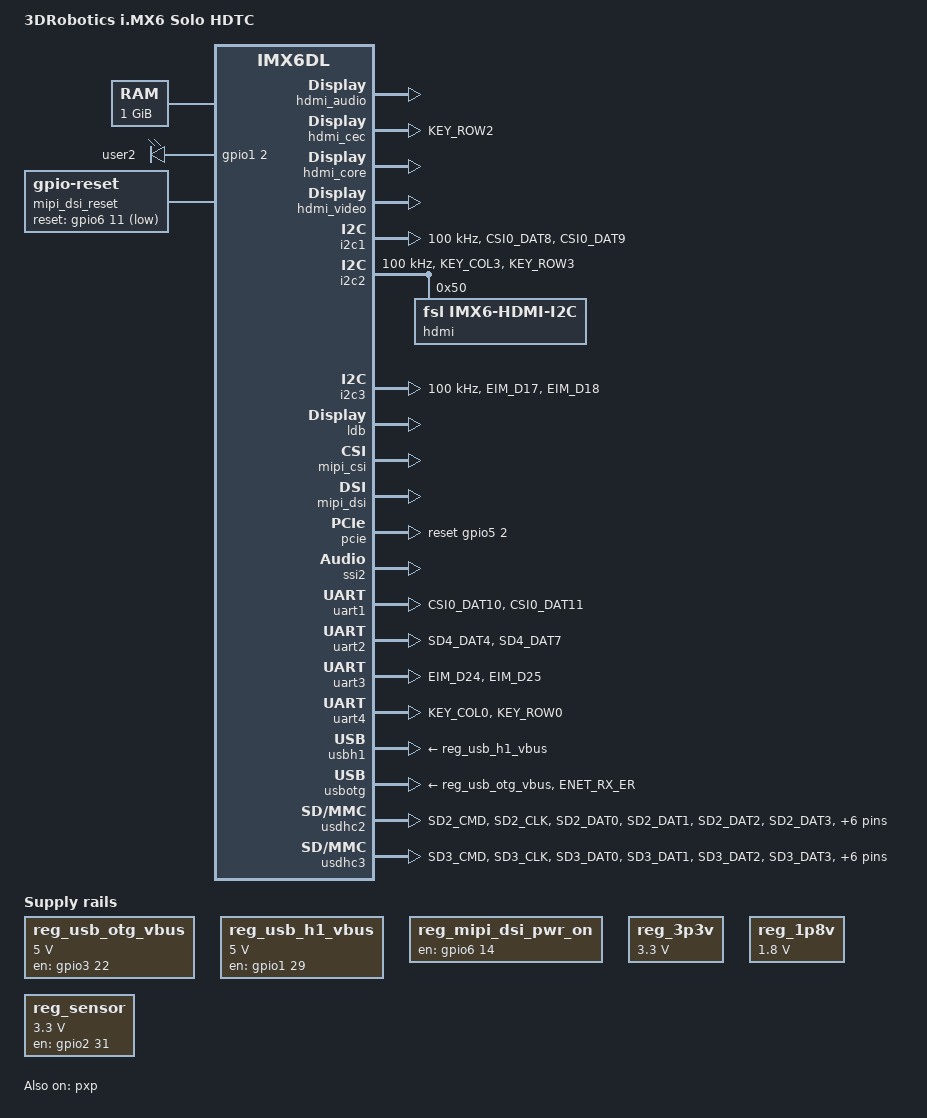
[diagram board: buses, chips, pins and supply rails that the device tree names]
/*
 * Copyright (C) 2013 Freescale Semiconductor, Inc.
 *
 * This program is free software; you can redistribute it and/or modify
 * it under the terms of the GNU General Public License version 2 as
 * published by the Free Software Foundation.
 */

/dts-v1/;

#include "imx6dl.dtsi"

/ {
	model = "3DRobotics i.MX6 Solo HDTC";
	compatible = "fsl,imx6dl-sabresd", "fsl,imx6dl";
};

&iomuxc {
	pinctrl-names = "default";
	pinctrl-0 = <&pinctrl_hog_1>;

  imx6solo-3dr-artoo {
    pinctrl_hog_1: hoggrp-1 {
      fsl,pins = <
        MX6QDL_PAD_GPIO_4__GPIO1_IO04   0x80000000
        MX6QDL_PAD_GPIO_5__GPIO1_IO05   0x80000000
        MX6QDL_PAD_EIM_D26__GPIO3_IO26 0x80000000
        MX6QDL_PAD_EIM_CS1__GPIO2_IO24 0x80000000
        MX6QDL_PAD_EIM_A25__GPIO5_IO02 0x80000000
        MX6QDL_PAD_EIM_D23__GPIO3_IO23 0x80000000
        MX6QDL_PAD_EIM_D22__GPIO3_IO22  0x80000000
        MX6QDL_PAD_EIM_D16__GPIO3_IO16 0x80000000
        MX6QDL_PAD_EIM_DA9__GPIO3_IO09 0x80000000
        MX6QDL_PAD_GPIO_4__GPIO1_IO04 0x80000000
        MX6QDL_PAD_GPIO_5__GPIO1_IO05 0x80000000
        MX6QDL_PAD_EIM_D29__GPIO3_IO29 0x80000000
        MX6QDL_PAD_SD3_RST__GPIO7_IO08 0x80000000
        MX6QDL_PAD_GPIO_9__GPIO1_IO09 0x80000000
        MX6QDL_PAD_GPIO_1__WDOG2_B 0x80000000
        MX6QDL_PAD_GPIO_2__GPIO1_IO02 0x80000000
        MX6QDL_PAD_NANDF_CS3__GPIO6_IO16 0x80000000
        MX6QDL_PAD_NANDF_WP_B__GPIO6_IO09 0x80000000	
        MX6QDL_PAD_SD1_DAT3__GPIO1_IO21 0x80000000	
        MX6QDL_PAD_SD1_DAT2__GPIO1_IO19 0x80000000	
        MX6QDL_PAD_SD4_DAT5__GPIO2_IO13 0x80000000
        MX6QDL_PAD_SD4_DAT6__GPIO2_IO14 0x80000000
      >;
    };

    pinctrl_hdmi_cec_2: hdmicecgrp-2 {
      fsl,pins = <
        MX6QDL_PAD_KEY_ROW2__HDMI_TX_CEC_LINE 0x1f8b0
      >;
    };

    pinctrl_uart1_1: uart1grp-1 {
      fsl,pins = <
        MX6QDL_PAD_CSI0_DAT10__UART1_TX_DATA 0x1b0b1
        MX6QDL_PAD_CSI0_DAT11__UART1_RX_DATA 0x1b0b1
      >;
    };

    pinctrl_usbotg_2: usbotggrp-2 {
      fsl,pins = <
        MX6QDL_PAD_ENET_RX_ER__USB_OTG_ID 0x17059
      >;
    };

    pinctrl_usdhc2_1: usdhc2grp-1 {
      fsl,pins = <
        MX6QDL_PAD_SD2_CMD__SD2_CMD    0x17059
        MX6QDL_PAD_SD2_CLK__SD2_CLK    0x10059
        MX6QDL_PAD_SD2_DAT0__SD2_DATA0 0x17059
        MX6QDL_PAD_SD2_DAT1__SD2_DATA1 0x17059
        MX6QDL_PAD_SD2_DAT2__SD2_DATA2 0x17059
        MX6QDL_PAD_SD2_DAT3__SD2_DATA3 0x17059
        MX6QDL_PAD_NANDF_D4__SD2_DATA4 0x17059
        MX6QDL_PAD_NANDF_D5__SD2_DATA5 0x17059
        MX6QDL_PAD_NANDF_D6__SD2_DATA6 0x17059
        MX6QDL_PAD_NANDF_D7__SD2_DATA7 0x17059
      >;
    };

   pinctrl_usdhc3_1: usdhc3grp-1 {
      fsl,pins = <
        MX6QDL_PAD_SD3_CMD__SD3_CMD    0x17059
        MX6QDL_PAD_SD3_CLK__SD3_CLK    0x10059
        MX6QDL_PAD_SD3_DAT0__SD3_DATA0 0x17059
        MX6QDL_PAD_SD3_DAT1__SD3_DATA1 0x17059
        MX6QDL_PAD_SD3_DAT2__SD3_DATA2 0x17059
        MX6QDL_PAD_SD3_DAT3__SD3_DATA3 0x17059
        MX6QDL_PAD_SD3_DAT4__SD3_DATA4 0x17059
        MX6QDL_PAD_SD3_DAT5__SD3_DATA5 0x17059
        MX6QDL_PAD_SD3_DAT6__SD3_DATA6 0x17059
        MX6QDL_PAD_SD3_DAT7__SD3_DATA7 0x17059
      >;
    };

    pinctrl_i2c1_2: i2c1grp-2 {
      fsl,pins = <
        MX6QDL_PAD_CSI0_DAT8__I2C1_SDA 0x4001b8b1
        MX6QDL_PAD_CSI0_DAT9__I2C1_SCL 0x4001b8b1
      >;
    };

    pinctrl_i2c2_2: i2c2grp-2 {
      fsl,pins = <
        MX6QDL_PAD_KEY_COL3__I2C2_SCL 0x4001b8b1
        MX6QDL_PAD_KEY_ROW3__I2C2_SDA 0x4001b8b1
      >;
    };

    pinctrl_i2c3_1: i2c3grp-1 {
      fsl,pins = <
        MX6QDL_PAD_EIM_D17__I2C3_SCL 0x4001b8b1
        MX6QDL_PAD_EIM_D18__I2C3_SDA 0x4001b8b1
      >;
    };

    pinctrl_uart2_4: uart2grp-4 { /* DTE mode */
      fsl,pins = <
        MX6QDL_PAD_SD4_DAT4__UART2_RX_DATA   0x1b0b1
        MX6QDL_PAD_SD4_DAT7__UART2_TX_DATA   0x1b0b1
      >;
    };

    pinctrl_uart3_2: uart3grp-2 {
      fsl,pins = <
        MX6QDL_PAD_EIM_D24__UART3_TX_DATA 0x1b0b1
        MX6QDL_PAD_EIM_D25__UART3_RX_DATA 0x1b0b1
      >;
    };

    pinctrl_uart4_1: uart4grp-1 {
      fsl,pins = <
        MX6QDL_PAD_KEY_COL0__UART4_TX_DATA 0x1b0b1
        MX6QDL_PAD_KEY_ROW0__UART4_RX_DATA 0x1b0b1
      >;
    };

    pinctrl_ipu1_1: ipu1grp-1 {
      fsl,pins = <
        MX6QDL_PAD_DI0_DISP_CLK__IPU1_DI0_DISP_CLK 0x10
        MX6QDL_PAD_DI0_PIN15__IPU1_DI0_PIN15       0x10
        MX6QDL_PAD_DI0_PIN2__IPU1_DI0_PIN02        0x10
        MX6QDL_PAD_DI0_PIN3__IPU1_DI0_PIN03        0x10
        MX6QDL_PAD_DI0_PIN4__IPU1_DI0_PIN04        0x80000000
        MX6QDL_PAD_DISP0_DAT0__IPU1_DISP0_DATA00   0x10
        MX6QDL_PAD_DISP0_DAT1__IPU1_DISP0_DATA01   0x10
        MX6QDL_PAD_DISP0_DAT2__IPU1_DISP0_DATA02   0x10
        MX6QDL_PAD_DISP0_DAT3__IPU1_DISP0_DATA03   0x10
        MX6QDL_PAD_DISP0_DAT4__IPU1_DISP0_DATA04   0x10
        MX6QDL_PAD_DISP0_DAT5__IPU1_DISP0_DATA05   0x10
        MX6QDL_PAD_DISP0_DAT6__IPU1_DISP0_DATA06   0x10
        MX6QDL_PAD_DISP0_DAT7__IPU1_DISP0_DATA07   0x10
        MX6QDL_PAD_DISP0_DAT8__IPU1_DISP0_DATA08   0x10
        MX6QDL_PAD_DISP0_DAT9__IPU1_DISP0_DATA09   0x10
        MX6QDL_PAD_DISP0_DAT10__IPU1_DISP0_DATA10  0x10
        MX6QDL_PAD_DISP0_DAT11__IPU1_DISP0_DATA11  0x10
        MX6QDL_PAD_DISP0_DAT12__IPU1_DISP0_DATA12  0x10
        MX6QDL_PAD_DISP0_DAT13__IPU1_DISP0_DATA13  0x10
        MX6QDL_PAD_DISP0_DAT14__IPU1_DISP0_DATA14  0x10
        MX6QDL_PAD_DISP0_DAT15__IPU1_DISP0_DATA15  0x10
        MX6QDL_PAD_DISP0_DAT16__IPU1_DISP0_DATA16  0x10
        MX6QDL_PAD_DISP0_DAT17__IPU1_DISP0_DATA17  0x10
        MX6QDL_PAD_DISP0_DAT18__IPU1_DISP0_DATA18  0x10
        MX6QDL_PAD_DISP0_DAT19__IPU1_DISP0_DATA19  0x10
        MX6QDL_PAD_DISP0_DAT20__IPU1_DISP0_DATA20  0x10
        MX6QDL_PAD_DISP0_DAT21__IPU1_DISP0_DATA21  0x10
        MX6QDL_PAD_DISP0_DAT22__IPU1_DISP0_DATA22  0x10
        MX6QDL_PAD_DISP0_DAT23__IPU1_DISP0_DATA23  0x10
      >;
    };
  };
};

/ {
	aliases {
		mxcfb0 = &mxcfb1;
		mxcfb1 = &mxcfb2;
		mxcfb2 = &mxcfb3;
		mxcfb3 = &mxcfb4;
	};

	memory {
		reg = <0x10000000 0x40000000>;
	};

	leds {
		compatible = "gpio-leds";
		
		led1: user2 {
			label = "user2";
			gpios = <&gpio1 2 GPIO_ACTIVE_HIGH>;
			default-state = "off";
			linux,default-trigger = "phy0assoc";
		};
	};

	regulators {
		compatible = "simple-bus";

		reg_usb_otg_vbus: usb_otg_vbus {
			compatible = "regulator-fixed";
			regulator-name = "usb_otg_vbus";
			regulator-min-microvolt = <5000000>;
			regulator-max-microvolt = <5000000>;
			gpio = <&gpio3 22 0>;
			enable-active-high;
		};

		reg_usb_h1_vbus: usb_h1_vbus {
			compatible = "regulator-fixed";
			regulator-name = "usb_h1_vbus";
			regulator-min-microvolt = <5000000>;
			regulator-max-microvolt = <5000000>;
			gpio = <&gpio1 29 0>;
			enable-active-high;
		};

		reg_mipi_dsi_pwr_on: mipi_dsi_pwr_on {
			compatible = "regulator-fixed";
			regulator-name = "mipi_dsi_pwr_on";
			gpio = <&gpio6 14 0>;
			enable-active-high;
		};

		reg_3p3v: 3p3v {
			compatible = "regulator-fixed";
			regulator-name = "3P3V";
			regulator-min-microvolt = <3300000>;
			regulator-max-microvolt = <3300000>;
			regulator-always-on;
		};

		reg_1p8v: 1p8v {
			compatible = "regulator-fixed";
			regulator-name = "1P8V";
			regulator-min-microvolt = <1800000>;
			regulator-max-microvolt = <1800000>;
			regulator-always-on;
		};

		reg_sensor: sensor_supply {
			compatible = "regulator-fixed";
			regulator-name = "sensor-supply";
			regulator-min-microvolt = <3300000>;
			regulator-max-microvolt = <3300000>;
			gpio = <&gpio2 31 0>;
			startup-delay-us = <500>;
			enable-active-high;
		};
	};

	sound-hdmi {
		compatible = "fsl,imx6q-audio-hdmi",
			     "fsl,imx-audio-hdmi";
		model = "imx-audio-hdmi";
		hdmi-controller = <&hdmi_audio>;
	};

	mxcfb1: fb@0 {
		compatible = "fsl,mxc_sdc_fb";
		disp_dev = "ldb";
		interface_pix_fmt = "RGB666";
		mode_str ="LDB-XGA";
		default_bpp = <16>;
		int_clk = <0>;
		late_init = <0>;
		status = "disabled";
	};

	mxcfb2: fb@1 {
		compatible = "fsl,mxc_sdc_fb";
		disp_dev = "hdmi";
		interface_pix_fmt = "RGB24";
		mode_str ="1920x1080M@60";
		default_bpp = <24>;
		int_clk = <0>;
		late_init = <0>;
		status = "disabled";
	};

	mxcfb3: fb@2 {
		compatible = "fsl,mxc_sdc_fb";
		disp_dev = "lcd";
		interface_pix_fmt = "RGB565";
		mode_str ="CLAA-WVGA";
		default_bpp = <16>;
		int_clk = <0>;
		late_init = <0>;
		status = "disabled";
	};

	mxcfb4: fb@3 {
		compatible = "fsl,mxc_sdc_fb";
		disp_dev = "ldb";
		interface_pix_fmt = "RGB666";
		mode_str ="LDB-XGA";
		default_bpp = <16>;
		int_clk = <0>;
		late_init = <0>;
		status = "disabled";
	};

	lcd@0 {
		compatible = "fsl,lcd";
		ipu_id = <0>;
		disp_id = <0>;
		default_ifmt = "RGB565";
		pinctrl-names = "default";
		pinctrl-0 = <&pinctrl_ipu1_1>;
		status = "okay";
	};

	v4l2_cap_0 {
		compatible = "fsl,imx6q-v4l2-capture";
		ipu_id = <0>;
		csi_id = <0>;
		mclk_source = <0>;
		status = "okay";
	};

	v4l2_cap_1 {
		compatible = "fsl,imx6q-v4l2-capture";
		ipu_id = <0>;
		csi_id = <1>;
		mclk_source = <0>;
		status = "okay";
	};

	v4l2_out {
		compatible = "fsl,mxc_v4l2_output";
		status = "okay";
	};

	mipi_dsi_reset: mipi-dsi-reset {
		compatible = "gpio-reset";
		reset-gpios = <&gpio6 11 GPIO_ACTIVE_LOW>;
		reset-delay-us = <50>;
		#reset-cells = <0>;
	};
};

&cpu0 {
        arm-supply = <&reg_arm>;
        soc-supply = <&reg_soc>;
        pu-supply = <&reg_pu>; /* use pu_dummy if VDDSOC share with VDDPU */
};


//&gpu {
//        pu-supply = <&reg_pu>; /* ldo-bypass:use pu_dummy if VDDSOC share with VDDPU */
//};

&vpu {
        pu-supply = <&reg_pu>; /* ldo-bypass:use pu_dummy if VDDSOC share with VDDPU */
};

&gpc {
	fsl,cpu_pupscr_sw2iso = <0xf>;
	fsl,cpu_pupscr_sw = <0xf>;
	fsl,cpu_pdnscr_iso2sw = <0x1>;
	fsl,cpu_pdnscr_iso = <0x1>;
	fsl,ldo-bypass = <0>; /* use ldo-bypass, u-boot will check it and configure */
	fsl,wdog-reset = <1>; /* watchdog select of reset source */
	pu-supply = <&reg_pu>; /* ldo-bypass:use pu_dummy if VDDSOC share with VDDPU */
};

&hdmi_audio {
	status = "okay";
};

&hdmi_cec {
	pinctrl-names = "default";
	pinctrl-0 = <&pinctrl_hdmi_cec_2>;
	status = "okay";
};

&hdmi_core {
	ipu_id = <0>;
	disp_id = <0>;
	status = "okay";
};

&hdmi_video {
	fsl,phy_reg_vlev = <0x0294>;
	fsl,phy_reg_cksymtx = <0x800d>;
	status = "okay";
};

&i2c1 {
	clock-frequency = <100000>;
	pinctrl-names = "default";
	pinctrl-0 = <&pinctrl_i2c1_2>;
	status = "okay";
};

&i2c2 {
	clock-frequency = <100000>;
	pinctrl-names = "default";
	pinctrl-0 = <&pinctrl_i2c2_2>;
	status = "okay";

	hdmi: edid@50 {
		compatible = "fsl,imx6-hdmi-i2c";
		reg = <0x50>;
	};
};

&i2c3 {
        clock-frequency = <100000>;
        pinctrl-names = "default";
        pinctrl-0 = <&pinctrl_i2c3_1>;
        status = "okay";
};



&ldb {
	ipu_id = <1>;
	disp_id = <1>;
	ext_ref = <1>;
	mode = "sep1";
	sec_ipu_id = <1>;
	sec_disp_id = <0>;
	status = "okay";
};

&mipi_csi {
	status = "okay";
	ipu_id = <0>;
	csi_id = <1>;
	v_channel = <0>;
	lanes = <2>;
};

&mipi_dsi {
	dev_id = <0>;
	disp_id = <1>;
	lcd_panel = "TRULY-WVGA";
	disp-power-on-supply = <&reg_mipi_dsi_pwr_on>;
	resets = <&mipi_dsi_reset>;
	status = "okay";
};

&pcie {
	//power-on-gpio = <&gpio5 20 0>;
	reset-gpio = <&gpio5 2 0>;
	status = "okay";
};

&ssi2 {
	fsl,mode = "i2s-slave";
	status = "okay";
};

&uart1 {
	pinctrl-names = "default";
	pinctrl-0 = <&pinctrl_uart1_1>;
	status = "okay";
};

&uart2 {
        pinctrl-names = "default";
        pinctrl-0 = <&pinctrl_uart2_4>;
        status = "okay";
};

&uart3 {
        pinctrl-names = "default";
        pinctrl-0 = <&pinctrl_uart3_2>;
        status = "okay";
};

&uart4 {
        pinctrl-names = "default";
        pinctrl-0 = <&pinctrl_uart4_1>;
        status = "okay";
};

&usbh1 {
	vbus-supply = <&reg_usb_h1_vbus>;
	status = "okay";
};

&usbotg {
	vbus-supply = <&reg_usb_otg_vbus>;
	pinctrl-names = "default";
	pinctrl-0 = <&pinctrl_usbotg_2>;
	disable-over-current;
	status = "okay";
};

&usdhc2 {
	pinctrl-names = "default";
	pinctrl-0 = <&pinctrl_usdhc2_1>;
	cd-gpios = <&gpio2 2 0>;
	wp-gpios = <&gpio2 3 0>;
	no-1-8-v;
	keep-power-in-suspend;
	enable-sdio-wakeup;
	status = "okay";
};

&usdhc3 {
	pinctrl-names = "default";
	pinctrl-0 = <&pinctrl_usdhc3_1>;
	cd-gpios = <&gpio2 0 0>;
	wp-gpios = <&gpio2 1 0>;
	no-1-8-v;
	keep-power-in-suspend;
	enable-sdio-wakeup;
	status = "okay";
};

&ldb {
	ipu_id = <0>;
	sec_ipu_id = <0>;
};

&mxcfb1 {
	status = "okay";
};

&mxcfb2 {
	status = "okay";
};

&pxp {
	status = "okay";
};
